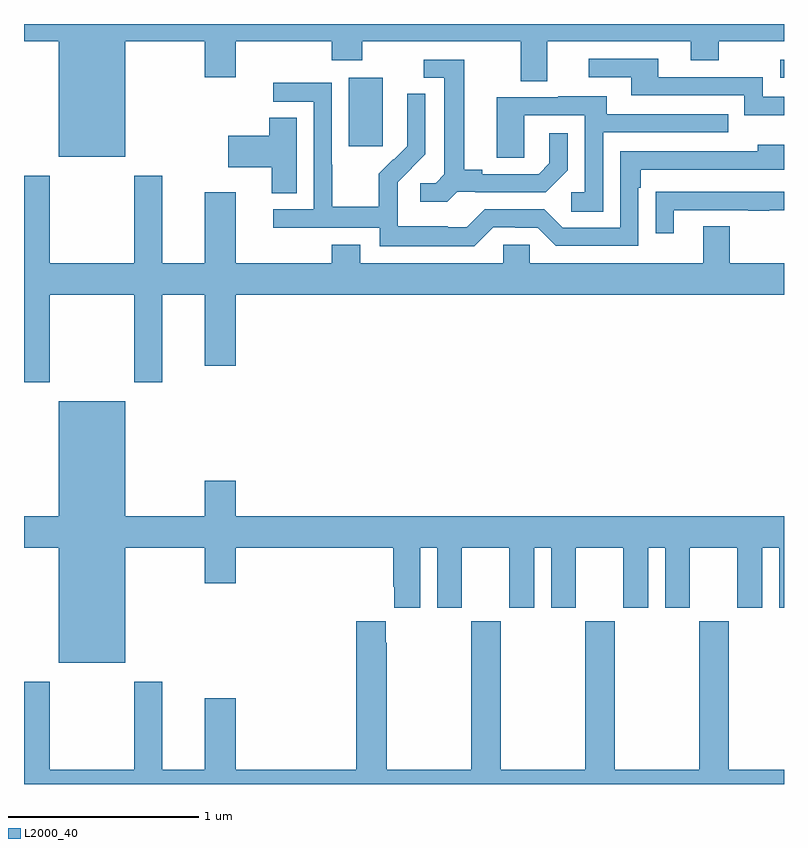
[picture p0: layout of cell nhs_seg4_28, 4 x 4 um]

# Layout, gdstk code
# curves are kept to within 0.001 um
import gdstk
lib = gdstk.Library(unit=1e-6, precision=1e-09)
def R(c, l, rs):  # rectangles x0, y0, x1, y1
    for r in rs: c.add(gdstk.rectangle(r[:2], r[2:], *l))
def P(c, l, *ps):  # polygons
    for p in ps: c.add(gdstk.Polygon(p, *l))
L2000_40 = (2000, 40)

nhs_seg4_28 = lib.new_cell('nhs_seg4_28')
R(nhs_seg4_28, L2000_40, [(112.709,808.257,112.888,808.618), (114.981,808.617,115,808.713)])
P(nhs_seg4_28, L2000_40, [(111.532,808.808),(111.95,808.808),(111.95,808.62),(112.114,808.62),(112.114,808.808),(112.619,808.808),(112.619,808.709),(112.779,808.709),(112.779,808.808),(113.615,808.808),(113.615,808.6),(113.755,808.6),(113.755,808.808),(114.509,808.808),(114.509,808.709),(114.657,808.709),(114.657,808.808),(115,808.808),(115,808.9),(111,808.9),(111,808.808),(111.182,808.808),(111.182,808.202),(111.532,808.202)],
  [(115,808.518),(114.888,808.518),(114.888,808.62),(114.337,808.62),(114.337,808.716),(113.973,808.716),(113.973,808.62),(114.197,808.62),(114.197,808.524),(114.792,808.524),(114.792,808.421),(115,808.421)],
  [(113.28,808.017),(113.374,808.017),(113.374,808.014),(113.746,808.014),(113.862,808.13),(113.862,808.324),(113.765,808.324),(113.765,808.167),(113.708,808.11),(113.413,808.11),(113.413,808.133),(113.317,808.133),(113.317,808.713),(113.103,808.713),(113.103,808.617),(113.213,808.617),(113.213,808.109),(113.166,808.062),(113.085,808.062),(113.085,807.965),(113.228,807.965)],
  [(113.469,807.831),(113.585,807.831),(113.585,807.828),(113.703,807.828),(113.799,807.732),(114.234,807.732),(114.234,808.037),(114.247,808.037),(114.247,808.134),(115,808.134),(115,808.264),(114.863,808.264),(114.863,808.23),(114.138,808.23),(114.138,807.828),(113.835,807.828),(113.739,807.924),(113.424,807.924),(113.331,807.831),(113.231,807.831),(113.231,807.835),(112.968,807.835),(112.968,807.969),(112.966,807.969),(112.966,808.066),(113.112,808.214),(113.112,808.532),(113.016,808.532),(113.016,808.378),(113.018,808.378),(113.018,808.256),(112.947,808.185),(112.944,808.188),(112.867,808.111),(112.867,807.937),(112.623,807.937),(112.623,808.16),(112.62,808.16),(112.62,808.59),(112.311,808.59),(112.311,808.491),(112.524,808.491),(112.524,807.924),(112.311,807.924),(112.311,807.828),(112.872,807.828),(112.872,807.731),(113.369,807.731)],
  [(114.048,808.329),(114.707,808.329),(114.707,808.425),(114.067,808.425),(114.067,808.519),(113.813,808.519),(113.813,808.515),(113.489,808.515),(113.489,808.195),(113.634,808.195),(113.634,808.419),(113.952,808.419),(113.952,808.014),(113.88,808.014),(113.88,807.913),(114.048,807.913)],
  [(112.435,808.406),(112.292,808.406),(112.292,808.311),(112.074,808.311),(112.074,808.145),(112.304,808.145),(112.304,808.009),(112.435,808.009)],
  [(111.135,807.476),(111.58,807.476),(111.58,807.015),(111.727,807.015),(111.727,807.476),(111.95,807.476),(111.95,807.102),(112.114,807.102),(112.114,807.476),(115,807.476),(115,807.64),(114.715,807.64),(114.715,807.835),(114.575,807.835),(114.575,807.64),(113.661,807.64),(113.661,807.738),(113.523,807.738),(113.523,807.64),(112.771,807.64),(112.771,807.739),(112.619,807.739),(112.619,807.64),(112.114,807.64),(112.114,808.015),(111.95,808.015),(111.95,807.64),(111.727,807.64),(111.727,808.102),(111.58,808.102),(111.58,807.64),(111.135,807.64),(111.135,808.102),(111,808.102),(111,807.015),(111.135,807.015)],
  [(114.421,807.921),(114.811,807.921),(114.811,807.916),(114.923,807.916),(114.923,807.921),(115,807.921),(115,808.017),(114.427,808.017),(114.427,808.016),(114.325,808.016),(114.325,807.798),(114.421,807.798)],
  [(111.532,806.144),(111.95,806.144),(111.95,805.956),(112.114,805.956),(112.114,806.144),(112.943,806.144),(112.943,805.939),(112.949,805.939),(112.949,805.827),(113.086,805.827),(113.086,806.144),(113.174,806.144),(113.174,805.827),(113.305,805.827),(113.305,806.144),(113.555,806.144),(113.555,805.827),(113.686,805.827),(113.686,806.144),(113.774,806.144),(113.774,805.827),(113.905,805.827),(113.905,806.144),(114.155,806.144),(114.155,805.827),(114.286,805.827),(114.286,806.144),(114.374,806.144),(114.374,805.827),(114.505,805.827),(114.505,806.144),(114.755,806.144),(114.755,805.827),(114.886,805.827),(114.886,806.144),(114.974,806.144),(114.974,805.827),(115,805.827),(115,806.308),(112.114,806.308),(112.114,806.497),(111.95,806.497),(111.95,806.308),(111.532,806.308),(111.532,806.914),(111.182,806.914),(111.182,806.308),(111,806.308),(111,806.144),(111.182,806.144),(111.182,805.538),(111.532,805.538)],
  [(115,804.976),(114.708,804.976),(114.708,805.756),(114.553,805.756),(114.553,804.976),(114.108,804.976),(114.108,805.756),(113.953,805.756),(113.953,804.976),(113.508,804.976),(113.508,805.756),(113.353,805.756),(113.353,804.976),(112.908,804.976),(112.908,805.643),(112.903,805.643),(112.903,805.756),(112.748,805.756),(112.748,804.976),(112.114,804.976),(112.114,805.351),(111.95,805.351),(111.95,804.976),(111.727,804.976),(111.727,805.438),(111.58,805.438),(111.58,804.976),(111.135,804.976),(111.135,805.438),(111,805.438),(111,804.9),(115,804.9)])

lib.write_gds('nhs_seg4_28.gds')
